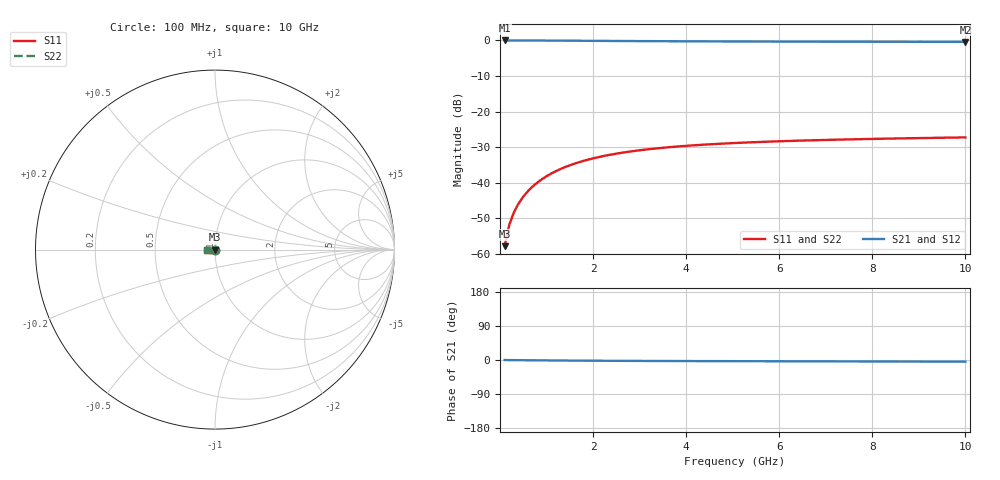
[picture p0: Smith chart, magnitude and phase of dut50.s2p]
! Touchstone file exported from HFSS 2024.1.0
!  File:  C:/UserFiles/LocalFiles/RDL_TSV_Batchsim/temp_TSV1_50_1778748582.aedt
!  Generated:  04:55:25 PM May 14, 2026
!  Design:  TSV1
!  Project:  temp_TSV1_50_1778748582
!  Setup:  Setup1
!  Solution:  Sweep
! Variables:
!  dtsv = 13um
!  hbump = 3um
!  htsv = 65.95um
!  lrdl = 252.1521522um
!  p = 40
!  p1 = 55.69um
!  t = 500um
!  trdl = 3um
!  wrdl = 24.89489489um
# GHz S MA R 50.000000
! Terminal data exported
! Port[1] = TSV22_T1
! Port[2] = TSV22_T2
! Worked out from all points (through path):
!   100 points, 100 MHz to 10 GHz, reference 50 ohm
!   highest |S21| = 0.00 dB at 100 MHz (marker M1); lowest = -0.4 dB at 10 GHz (marker M2)
!   lowest |S11| = -57.9 dB at 100 MHz (marker M3), VSWR 1.00, Z = 50 - j0.128 ohm
!   |S11| at or under -10 dB: start of sweep to end of sweep
!   |S22| runs from -57.9 to -27.3 dB; largest |S21 - S12| = 4.2e-15
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0.1  0.001277 -88.4  0.9999 -0.1  0.9999 -0.1  0.001277 -88.4
! Gamma 0 0 0 0
! Port Impedance 50 0 50 0
0.2  0.002551 -91.9  0.9997 -0.2  0.9997 -0.2  0.002551 -91.9
0.3  0.003823 -94.3  0.9995 -0.4  0.9995 -0.4  0.003823 -94.3
0.4  0.005088 -96.5  0.9992 -0.5  0.9992 -0.5  0.005088 -96.5
0.5  0.006341 -98.5  0.9988 -0.6  0.9988 -0.6  0.006341 -98.5
0.6  0.007577 -100.5  0.9983 -0.7  0.9983 -0.7  0.007577 -100.5
0.7  0.008794 -102.5  0.9978 -0.8  0.9978 -0.8  0.008794 -102.5
0.8  0.009987 -104.4  0.9972 -0.9  0.9972 -0.9  0.009987 -104.4
0.9  0.01115 -106.3  0.9966 -1.0  0.9966 -1.0  0.01115 -106.3
1.1  0.0134 -109.9  0.9952 -1.2  0.9952 -1.2  0.0134 -109.9
1.4  0.01654 -115.0  0.9928 -1.5  0.9928 -1.5  0.01654 -115.0
1.6  0.01847 -118.2  0.991 -1.6  0.991 -1.6  0.01847 -118.2
1.8  0.02027 -121.3  0.9893 -1.8  0.9893 -1.8  0.02027 -121.3
2.1  0.02271 -125.6  0.9866 -2.0  0.9866 -2.0  0.02271 -125.6
2.5  0.02555 -130.9  0.9831 -2.2  0.9831 -2.2  0.02555 -130.9
2.9  0.02797 -135.6  0.9799 -2.4  0.9799 -2.4  0.02797 -135.6
3.4  0.03048 -140.8  0.9763 -2.6  0.9763 -2.6  0.03048 -140.8
4.2  0.03361 -147.9  0.9714 -2.9  0.9714 -2.9  0.03361 -147.9
5.1  0.0362 -154.5  0.9671 -3.1  0.9671 -3.1  0.0362 -154.5
6.7  0.03938 -163.9  0.9617 -3.5  0.9617 -3.5  0.03938 -163.9
8.4  0.04166 -171.6  0.958 -4.0  0.958 -4.0  0.04166 -171.6
10  0.04327 -177.7  0.9556 -4.4  0.9556 -4.4  0.04327 -177.7
